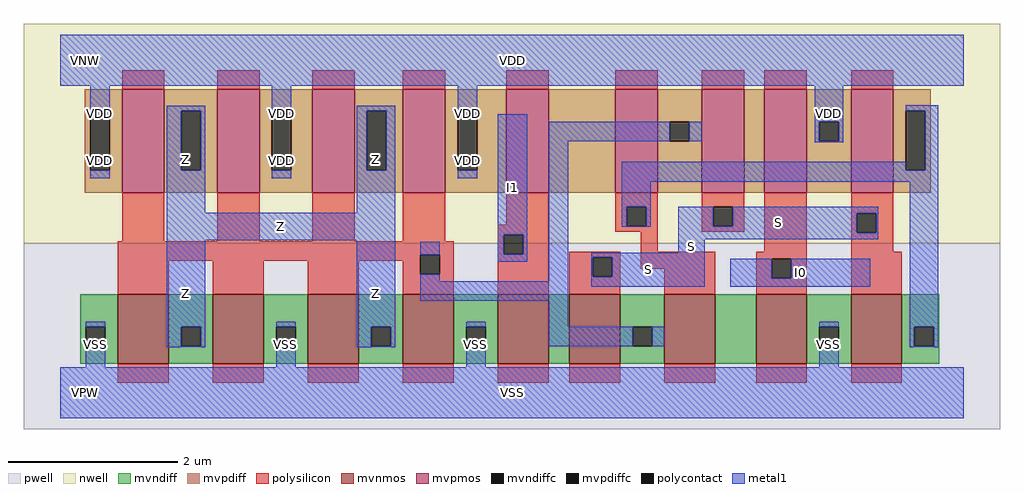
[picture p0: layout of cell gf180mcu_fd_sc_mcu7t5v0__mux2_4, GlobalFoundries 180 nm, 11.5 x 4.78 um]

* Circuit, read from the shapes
.subckt gf180mcu_fd_sc_mcu7t5v0__mux2_4 I0 I1 S Z VDD VNW VPW VSS
XM1 Z n1 VSS VPW nfet_06v0 w=0.82u l=0.6u m=4
XM2 n2 I1 VSS VPW nfet_06v0 w=0.82u l=0.6u
XM3 n1 S n2 VPW nfet_06v0 w=0.82u l=0.6u
XM4 n3 n4 n1 VPW nfet_06v0 w=0.82u l=0.6u
XM5 VSS I0 n3 VPW nfet_06v0 w=0.82u l=0.6u
XM6 n4 S VSS VPW nfet_06v0 w=0.82u l=0.6u
XM7 Z n1 VDD VNW pfet_06v0 w=1.22u l=0.5u m=4
XM8 n5 I1 VDD VNW pfet_06v0 w=1.22u l=0.5u
XM9 n1 n4 n5 VNW pfet_06v0 w=1.22u l=0.5u
XM10 n6 S n1 VNW pfet_06v0 w=1.22u l=0.5u
XM11 VDD I0 n6 VNW pfet_06v0 w=1.22u l=0.5u
XM12 n4 S VDD VNW pfet_06v0 w=1.22u l=0.5u
.ends

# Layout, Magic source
magic
tech gf180mcuD
magscale 1 10
<< nwell >>
rect -86 352 2214 870
<< pwell >>
rect -86 -86 2214 352
<< mvnmos >>
rect 135 68 255 232
rect 359 68 479 232
rect 583 68 703 232
rect 807 68 927 232
rect 1031 68 1151 232
rect 1199 68 1319 232
rect 1423 68 1543 232
rect 1639 68 1759 232
rect 1863 68 1983 232
<< mvpmos >>
rect 145 472 245 716
rect 369 472 469 716
rect 593 472 693 716
rect 807 472 907 716
rect 1051 472 1151 716
rect 1307 472 1407 716
rect 1511 472 1611 716
rect 1659 472 1759 716
rect 1863 472 1963 716
<< mvndiff >>
rect 47 156 135 232
rect 47 110 60 156
rect 106 110 135 156
rect 47 68 135 110
rect 255 156 359 232
rect 255 110 284 156
rect 330 110 359 156
rect 255 68 359 110
rect 479 156 583 232
rect 479 110 508 156
rect 554 110 583 156
rect 479 68 583 110
rect 703 156 807 232
rect 703 110 732 156
rect 778 110 807 156
rect 703 68 807 110
rect 927 156 1031 232
rect 927 110 956 156
rect 1002 110 1031 156
rect 927 68 1031 110
rect 1151 68 1199 232
rect 1319 156 1423 232
rect 1319 110 1348 156
rect 1394 110 1423 156
rect 1319 68 1423 110
rect 1543 68 1639 232
rect 1759 156 1863 232
rect 1759 110 1788 156
rect 1834 110 1863 156
rect 1759 68 1863 110
rect 1983 156 2071 232
rect 1983 110 2012 156
rect 2058 110 2071 156
rect 1983 68 2071 110
<< mvpdiff >>
rect 57 665 145 716
rect 57 525 70 665
rect 116 525 145 665
rect 57 472 145 525
rect 245 665 369 716
rect 245 525 284 665
rect 330 525 369 665
rect 245 472 369 525
rect 469 665 593 716
rect 469 525 498 665
rect 544 525 593 665
rect 469 472 593 525
rect 693 665 807 716
rect 693 525 722 665
rect 768 525 807 665
rect 693 472 807 525
rect 907 665 1051 716
rect 907 525 936 665
rect 982 525 1051 665
rect 907 472 1051 525
rect 1151 472 1307 716
rect 1407 639 1511 716
rect 1407 593 1436 639
rect 1482 593 1511 639
rect 1407 472 1511 593
rect 1611 472 1659 716
rect 1759 639 1863 716
rect 1759 593 1788 639
rect 1834 593 1863 639
rect 1759 472 1863 593
rect 1963 665 2051 716
rect 1963 525 1992 665
rect 2038 525 2051 665
rect 1963 472 2051 525
<< mvndiffc >>
rect 60 110 106 156
rect 284 110 330 156
rect 508 110 554 156
rect 732 110 778 156
rect 956 110 1002 156
rect 1348 110 1394 156
rect 1788 110 1834 156
rect 2012 110 2058 156
<< mvpdiffc >>
rect 70 525 116 665
rect 284 525 330 665
rect 498 525 544 665
rect 722 525 768 665
rect 936 525 982 665
rect 1436 593 1482 639
rect 1788 593 1834 639
rect 1992 525 2038 665
<< polysilicon >>
rect 145 716 245 760
rect 369 716 469 760
rect 593 716 693 760
rect 807 716 907 760
rect 1051 716 1151 760
rect 1307 716 1407 760
rect 1511 716 1611 760
rect 1659 716 1759 760
rect 1863 716 1963 760
rect 145 357 245 472
rect 369 357 469 472
rect 593 357 693 472
rect 807 357 907 472
rect 1051 396 1151 472
rect 1031 373 1151 396
rect 1307 439 1407 472
rect 1307 393 1334 439
rect 1380 393 1407 439
rect 1307 380 1407 393
rect 1511 439 1611 472
rect 1511 393 1538 439
rect 1584 393 1611 439
rect 1511 380 1611 393
rect 135 326 927 357
rect 135 311 848 326
rect 135 232 255 311
rect 359 232 479 311
rect 583 232 703 311
rect 807 280 848 311
rect 894 280 927 326
rect 807 232 927 280
rect 1031 327 1045 373
rect 1091 327 1151 373
rect 1367 332 1407 380
rect 1659 332 1759 472
rect 1031 232 1151 327
rect 1199 319 1319 332
rect 1199 273 1254 319
rect 1300 273 1319 319
rect 1367 292 1543 332
rect 1199 232 1319 273
rect 1423 232 1543 292
rect 1639 316 1759 332
rect 1639 270 1676 316
rect 1722 270 1759 316
rect 1639 232 1759 270
rect 1863 423 1963 472
rect 1863 377 1876 423
rect 1922 377 1963 423
rect 1863 332 1963 377
rect 1863 232 1983 332
rect 135 24 255 68
rect 359 24 479 68
rect 583 24 703 68
rect 807 24 927 68
rect 1031 24 1151 68
rect 1199 24 1319 68
rect 1423 24 1543 68
rect 1639 24 1759 68
rect 1863 24 1983 68
<< polycontact >>
rect 1334 393 1380 439
rect 1538 393 1584 439
rect 848 280 894 326
rect 1045 327 1091 373
rect 1254 273 1300 319
rect 1676 270 1722 316
rect 1876 377 1922 423
<< metal1 >>
rect 0 724 2128 844
rect 70 665 116 724
rect 70 506 116 525
rect 250 665 341 676
rect 250 525 284 665
rect 330 525 341 665
rect 250 424 341 525
rect 498 665 544 724
rect 498 506 544 525
rect 698 665 789 676
rect 698 525 722 665
rect 768 525 789 665
rect 698 424 789 525
rect 936 665 982 724
rect 936 506 982 525
rect 250 360 789 424
rect 60 156 106 167
rect 60 60 106 110
rect 250 156 341 360
rect 250 110 284 156
rect 330 110 341 156
rect 250 108 341 110
rect 508 156 554 167
rect 508 60 554 110
rect 698 156 789 360
rect 1030 373 1100 657
rect 1777 639 1845 724
rect 848 326 894 356
rect 1030 327 1045 373
rect 1091 327 1100 373
rect 1030 309 1100 327
rect 1151 593 1436 639
rect 1482 593 1511 639
rect 1777 593 1788 639
rect 1834 593 1845 639
rect 848 263 894 280
rect 1151 263 1197 593
rect 1777 591 1845 593
rect 1992 665 2069 678
rect 1323 525 1992 545
rect 2038 525 2069 665
rect 1323 498 2069 525
rect 1323 439 1391 498
rect 1323 393 1334 439
rect 1380 393 1391 439
rect 1323 392 1391 393
rect 1456 393 1538 439
rect 1584 423 1927 439
rect 1584 393 1876 423
rect 1456 377 1876 393
rect 1922 377 1927 423
rect 1456 362 1927 377
rect 1456 330 1518 362
rect 848 217 1197 263
rect 1251 319 1518 330
rect 1251 273 1254 319
rect 1300 273 1518 319
rect 1251 250 1518 273
rect 1578 270 1676 316
rect 1722 270 1908 316
rect 1578 250 1908 270
rect 698 110 732 156
rect 778 110 789 156
rect 698 108 789 110
rect 956 156 1002 167
rect 1151 156 1197 217
rect 1788 156 1834 167
rect 1151 110 1348 156
rect 1394 110 1423 156
rect 956 60 1002 110
rect 1788 60 1834 110
rect 2001 156 2069 498
rect 2001 110 2012 156
rect 2058 110 2069 156
rect 2001 108 2069 110
rect 0 -60 2128 60
<< labels >>
flabel metal1 s 1456 362 1927 439 0 FreeSans 400 0 0 0 S
port 3 nsew default input
flabel metal1 s 0 724 2128 844 0 FreeSans 400 0 0 0 VDD
port 5 nsew power bidirectional abutment
flabel metal1 s 1788 60 1834 167 0 FreeSans 400 0 0 0 VSS
port 8 nsew ground bidirectional abutment
flabel metal1 s 698 424 789 676 0 FreeSans 400 0 0 0 Z
port 4 nsew default output
flabel metal1 s 1578 250 1908 316 0 FreeSans 400 0 0 0 I0
port 1 nsew default input
flabel metal1 s 1030 309 1100 657 0 FreeSans 400 0 0 0 I1
port 2 nsew default input
flabel nwell s 10 734 110 834 0 FreeSans 400 0 0 0 VNW
port 6 nsew power bidirectional
flabel pwell s 10 -50 110 50 0 FreeSans 400 0 0 0 VPW
port 7 nsew ground bidirectional
rlabel metal1 s 1456 330 1518 362 1 S
port 3 nsew default input
rlabel metal1 s 1251 250 1518 330 1 S
port 3 nsew default input
rlabel metal1 s 250 424 341 676 1 Z
port 4 nsew default output
rlabel metal1 s 250 360 789 424 1 Z
port 4 nsew default output
rlabel metal1 s 698 108 789 360 1 Z
port 4 nsew default output
rlabel metal1 s 250 108 341 360 1 Z
port 4 nsew default output
rlabel metal1 s 1777 591 1845 724 1 VDD
port 5 nsew power bidirectional abutment
rlabel metal1 s 936 591 982 724 1 VDD
port 5 nsew power bidirectional abutment
rlabel metal1 s 498 591 544 724 1 VDD
port 5 nsew power bidirectional abutment
rlabel metal1 s 70 591 116 724 1 VDD
port 5 nsew power bidirectional abutment
rlabel metal1 s 936 506 982 591 1 VDD
port 5 nsew power bidirectional abutment
rlabel metal1 s 498 506 544 591 1 VDD
port 5 nsew power bidirectional abutment
rlabel metal1 s 70 506 116 591 1 VDD
port 5 nsew power bidirectional abutment
rlabel metal1 s 956 60 1002 167 1 VSS
port 8 nsew ground bidirectional abutment
rlabel metal1 s 508 60 554 167 1 VSS
port 8 nsew ground bidirectional abutment
rlabel metal1 s 60 60 106 167 1 VSS
port 8 nsew ground bidirectional abutment
rlabel metal1 s 0 -60 2128 60 1 VSS
port 8 nsew ground bidirectional abutment
<< properties >>
string FIXED_BBOX 0 0 2128 784
string GDS_END 673932
string GDS_FILE $PDKPATH/libs.ref/gf180mcu_fd_sc_mcu7t5v0/gds/gf180mcu_fd_sc_mcu7t5v0.gds
string GDS_START 668908
string LEFclass core
string LEFsite GF018hv5v_mcu_sc7
string LEFsymmetry X Y
<< end >>
